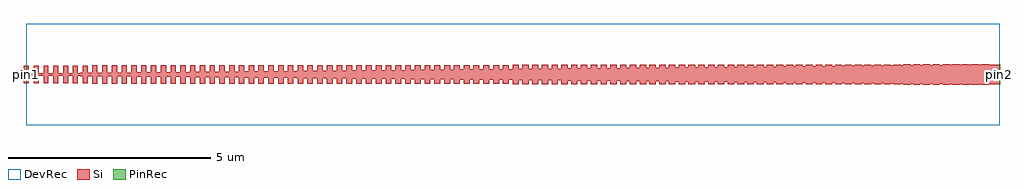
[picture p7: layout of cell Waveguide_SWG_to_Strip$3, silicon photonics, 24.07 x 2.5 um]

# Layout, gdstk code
import gdstk
lib = gdstk.Library(unit=1e-6, precision=1e-09)
def R(c, l, rs):  # rectangles x0, y0, x1, y1
    for r in rs: c.add(gdstk.rectangle(r[:2], r[2:], *l))
def P(c, l, *ps):  # polygons
    for p in ps: c.add(gdstk.Polygon(p, *l))
Si = (1, 0)
PinRec = (1, 10)
DevRec = (68, 0)

waveguide_swg_to_strip_3 = lib.new_cell('Waveguide_SWG_to_Strip$3')
R(waveguide_swg_to_strip_3, Si, [(23.075,-0.249,23.254,0.249), (23.316,-0.249,23.496,0.249), (23.557,-0.249,23.737,0.249), (22.352,-0.248,22.529,0.248), (22.593,-0.248,22.771,0.248), (22.834,-0.248,23.012,0.248), (21.629,-0.247,21.804,0.247), (21.87,-0.247,22.046,0.247), (22.111,-0.247,22.287,0.247), (20.665,-0.246,20.838,0.246), (20.906,-0.246,21.079,0.246), (21.147,-0.246,21.321,0.246), (21.388,-0.246,21.563,0.246), (19.942,-0.245,20.113,0.245), (20.183,-0.245,20.355,0.245), (20.424,-0.245,20.596,0.245), (19.219,-0.244,19.388,0.244), (19.46,-0.244,19.63,0.244), (19.701,-0.244,19.871,0.244), (18.255,-0.243,18.422,0.243), (18.496,-0.243,18.663,0.243), (18.737,-0.243,18.905,0.243), (18.978,-0.243,19.147,0.243), (17.532,-0.242,17.697,0.242), (17.773,-0.242,17.939,0.242), (18.014,-0.242,18.18,0.242), (16.809,-0.241,16.972,0.241), (17.05,-0.241,17.214,0.241), (17.291,-0.241,17.455,0.241), (15.845,-0.24,16.006,0.24), (16.086,-0.24,16.247,0.24), (16.327,-0.24,16.489,0.24), (16.568,-0.24,16.73,0.24), (15.122,-0.239,15.281,0.239), (15.363,-0.239,15.522,0.239), (15.604,-0.239,15.764,0.239), (14.399,-0.238,14.556,0.238), (14.64,-0.238,14.798,0.238), (14.881,-0.238,15.039,0.238), (13.676,-0.237,13.831,0.237), (13.917,-0.237,14.073,0.237), (14.158,-0.237,14.314,0.237), (12.712,-0.236,12.865,0.236), (12.953,-0.236,13.106,0.236), (13.194,-0.236,13.348,0.236), (13.435,-0.236,13.59,0.236), (11.989,-0.235,12.14,0.235), (12.23,-0.235,12.382,0.235), (12.471,-0.235,12.623,0.235), (11.266,-0.234,11.415,0.234), (11.507,-0.234,11.657,0.234), (11.748,-0.234,11.898,0.234), (10.302,-0.233,10.449,0.233), (10.543,-0.233,10.69,0.233), (10.784,-0.233,10.932,0.233), (11.025,-0.233,11.173,0.233), (9.579,-0.232,9.724,0.232), (9.82,-0.232,9.965,0.232), (10.061,-0.232,10.207,0.232), (8.856,-0.231,8.999,0.231), (9.097,-0.231,9.241,0.231), (9.338,-0.231,9.482,0.231), (7.892,-0.23,8.033,0.23), (8.133,-0.23,8.274,0.23), (8.374,-0.23,8.516,0.23), (8.615,-0.23,8.757,0.23), (7.169,-0.229,7.308,0.229), (7.41,-0.229,7.549,0.229), (7.651,-0.229,7.791,0.229), (6.446,-0.228,6.583,0.228), (6.687,-0.228,6.825,0.228), (6.928,-0.228,7.066,0.228), (5.723,-0.227,5.858,0.227), (5.964,-0.227,6.1,0.227), (6.205,-0.227,6.341,0.227), (4.759,-0.226,4.892,0.226), (5,-0.226,5.133,0.226), (5.241,-0.226,5.375,0.226), (5.482,-0.226,5.616,0.226), (4.036,-0.225,4.167,0.225), (4.277,-0.225,4.408,0.225), (4.518,-0.225,4.65,0.225), (3.313,-0.224,3.442,0.224), (3.554,-0.224,3.684,0.224), (3.795,-0.224,3.925,0.224), (2.349,-0.223,2.476,0.223), (2.59,-0.223,2.717,0.223), (2.831,-0.223,2.959,0.223), (3.072,-0.223,3.2,0.223), (1.626,-0.222,1.751,0.222), (1.867,-0.222,1.992,0.222), (2.108,-0.222,2.234,0.222), (0.903,-0.221,1.026,0.221), (1.144,-0.221,1.268,0.221), (1.385,-0.221,1.509,0.221), (-0.06,-0.22,0.059,0.22), (0.18,-0.22,0.301,0.22), (0.421,-0.22,0.543,0.22), (0.662,-0.22,0.784,0.22)])
P(waveguide_swg_to_strip_3, Si, [(24,-0.25),(0,-0.03),(0,0.03),(24,0.25)])
R(waveguide_swg_to_strip_3, DevRec, [(0,-1.25,24,1.25)])
waveguide_swg_to_strip_3.add(gdstk.FlexPath([(0.01,0),(-0.01,0)], 0.44, ends="flush", simple_path=True, layer=1, datatype=10))  # PinRec
waveguide_swg_to_strip_3.add(gdstk.FlexPath([(23.99,0),(24.01,0)], 0.5, ends="flush", simple_path=True, layer=1, datatype=10))  # PinRec
waveguide_swg_to_strip_3.add(gdstk.Label('pin1', (0,0), layer=1, texttype=10))
waveguide_swg_to_strip_3.add(gdstk.Label('pin2', (24,0), layer=1, texttype=10))

lib.write_gds('Waveguide_SWG_to_Strip_3.gds')
